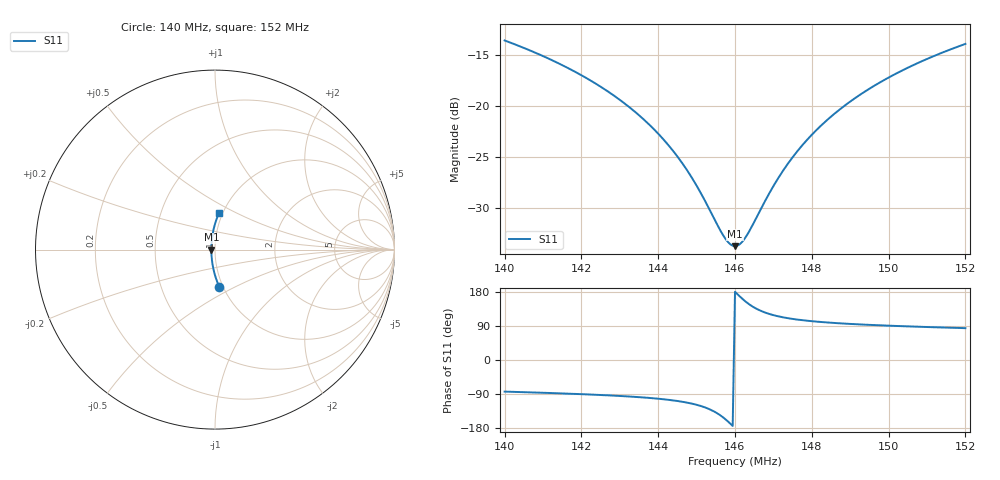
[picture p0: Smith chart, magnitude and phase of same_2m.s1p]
! Synthetic NanoVNA-style sweep for s1pdiff self-test
# Hz S RI R 50
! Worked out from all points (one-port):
!   201 points, 140 MHz to 152 MHz, reference 50 ohm
!   lowest |S11| = -33.8 dB at 146 MHz (marker M1), VSWR 1.04, Z = 48 + j0 ohm
!   |S11| at or under -10 dB: start of sweep to end of sweep
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1.4e8  0.0243 -0.209
1.4078e8  0.0136 -0.1833
1.415e8  0.00499 -0.159
1.4228e8  -0.00301 -0.1321
1.43e8  -0.00908 -0.1069
1.4342e8  -0.012 -0.0921
1.4384e8  -0.0145 -0.0772
1.442e8  -0.0163 -0.0643
1.445e8  -0.0176 -0.0536
1.4474e8  -0.0184 -0.045
1.4498e8  -0.0191 -0.0365
1.457e8  -0.0203 -0.0107
1.4582e8  -0.0204 -0.00642
1.4588e8  -0.0204 -0.00428
1.46e8  -0.0204 0
1.4612e8  -0.0204 0.00428
1.463e8  -0.0203 0.0107
1.4702e8  -0.0191 0.0362
1.4726e8  -0.0185 0.0447
1.475e8  -0.0176 0.0531
1.478e8  -0.0164 0.0635
1.4816e8  -0.0147 0.076
1.4858e8  -0.0123 0.0905
1.49e8  -0.00953 0.1048
1.4972e8  -0.00386 0.1289
1.505e8  0.0035 0.1544
1.5122e8  0.0114 0.1772
1.52e8  0.021 0.2012
